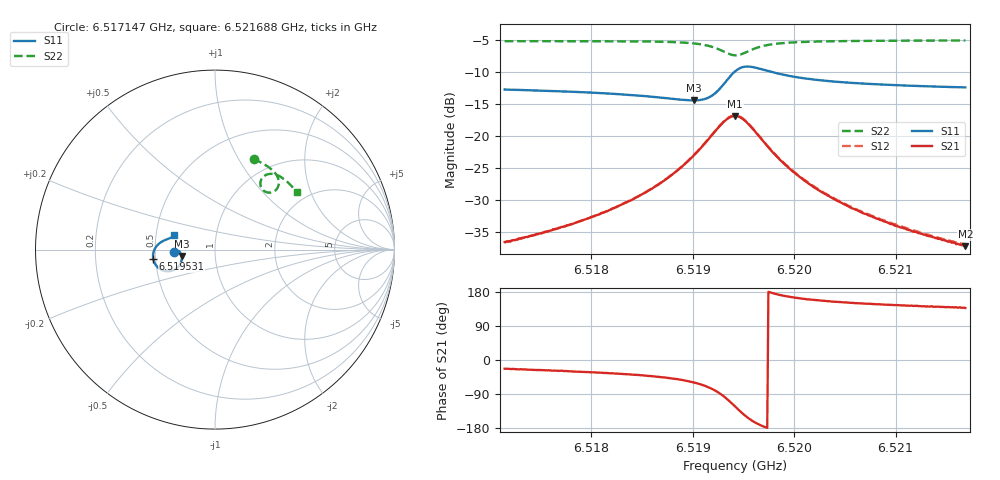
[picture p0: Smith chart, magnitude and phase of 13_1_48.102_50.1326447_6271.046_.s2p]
#  HZ  S  RI  R  50.00
! Rohde & Schwarz Vector Network Analyzer
! Rohde-Schwarz,ZNB20-2Port,1311601062101988,3.16
! Created: UTC 12/23/2023, 3:35:50 AM
! freq[Hz]  re:S11  im:S11  re:S21  im:S21  re:S12  im:S12  re:S22  im:S22
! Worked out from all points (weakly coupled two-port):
!   401 points, 6.517147 GHz to 6.521688 GHz, reference 50 ohm
!   highest |S21| = -16.87 dB at 6.519417 GHz (marker M1); lowest = -37.2 dB at 6.521688 GHz (marker M2)
!   lowest |S11| = -14.5 dB at 6.519009 GHz (marker M3), VSWR 1.47, Z = 34.2 - j2.5 ohm
!   |S11| at or under -10 dB: start of sweep to 6.519412 GHz; 6.519775 GHz to end of sweep
!   |S22| runs from -7.4 to -5.1 dB; largest |S21 - S12| = 0.0044
!   S11 on the Smith chart (normalised r, x): 6.517147 GHz: 0.63, -0.02; 6.519531 GHz: 0.49, -0.06; 6.521688 GHz: 0.62, +0.10
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6.5171469e9  -0.2298 -0.014  0.0137 -0.0058  0.0138 -0.00529  0.2146 0.5052
6.5175782e9  -0.2247 -0.008  0.0161 -0.00827  0.0162 -0.00772  0.2464 0.4908
6.5179074e9  -0.2196 -0.00454  0.0187 -0.0114  0.0191 -0.0106  0.2707 0.4777
6.5183615e9  -0.2097 -0.00342  0.0243 -0.0188  0.0248 -0.018  0.3048 0.4549
6.518668e9  -0.1997 -0.00881  0.0299 -0.0296  0.031 -0.0288  0.3288 0.4332
6.5188496e9  -0.1923 -0.0181  0.034 -0.0416  0.0356 -0.0408  0.3432 0.4151
6.5190085e9  -0.186 -0.0352  0.0359 -0.06  0.038 -0.0594  0.3533 0.3918
6.5191107e9  -0.1854 -0.0546  0.0333 -0.079  0.0359 -0.0786  0.356 0.3708
6.5192015e9  -0.1933 -0.0799  0.0221 -0.1018  0.0252 -0.1019  0.3499 0.3472
6.5193264e9  -0.2383 -0.1171  -0.0233 -0.131  -0.0199 -0.1327  0.3147 0.3185
6.5193718e9  -0.2673 -0.1208  -0.0502 -0.1313  -0.0468 -0.1338  0.2936 0.318
6.5194172e9  -0.2982 -0.1127  -0.0768 -0.121  -0.0742 -0.1241  0.2729 0.3271
6.519474e9  -0.3291 -0.0872  -0.1015 -0.0951  -0.0995 -0.0988  0.256 0.3489
6.5195307e9  -0.3437 -0.054  -0.1108 -0.0646  -0.1099 -0.0683  0.2529 0.3743
6.5196442e9  -0.3374 -0.00025  -0.0995 -0.0194  -0.0998 -0.0224  0.2725 0.4087
6.5197577e9  -0.3179 0.028  -0.0794 0.00148  -0.0803 -0.000698  0.2983 0.4207
6.5199507e9  -0.2905 0.0475  -0.0545 0.0127  -0.0554 0.0112  0.3319 0.4196
6.5201778e9  -0.2709 0.0561  -0.0379 0.0147  -0.0389 0.0138  0.359 0.4091
6.5205183e9  -0.2535 0.0626  -0.0253 0.0135  -0.0259 0.0131  0.3882 0.3897
6.5209383e9  -0.2409 0.0687  -0.0171 0.0118  -0.0178 0.0115  0.416 0.3645
6.5212675e9  -0.2335 0.0733  -0.0134 0.0106  -0.014 0.0103  0.4347 0.3447
6.5216875e9  -0.2259 0.079  -0.0101 0.00938  -0.0109 0.00929  0.4559 0.3185
